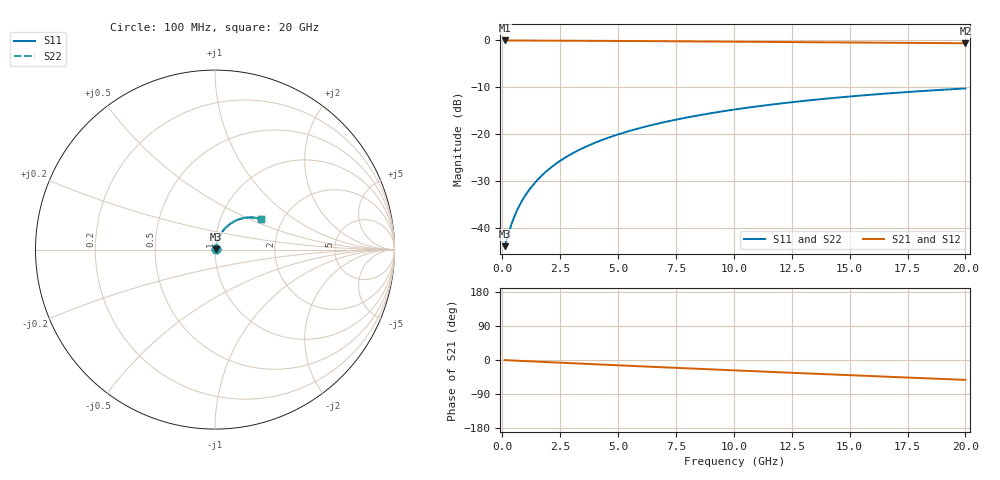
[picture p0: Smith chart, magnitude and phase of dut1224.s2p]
! Touchstone file exported from HFSS 2026.1.0
!  File:  C:/ffzhzh/LocalFiles/Ansys_Project_Files/temp_train_BSMRDL_1224_1783176869_51560.aedt
!  Generated:  10:55:42 PM Jul  4, 2026
!  Design:  BSMRDL
!  Project:  temp_train_BSMRDL_1224_1783176869_51560
! Variables:
!  h_bsmrdl = 5.42um
!  h_ox = 20um
!  h_rdl = 5um
!  h_sub = 80um
!  h_tmrdl = 5um
!  h_tsv = 80um
!  h_via = 3um
!  l_bsmrdl = 918.18um
!  l_sub = 1318.18um
!  l_tmrdl = 200um
!  m_sub = 200um
!  pitch = 20.46um
!  r_tsv = 6um
!  s_tmrdl = 10um
!  w_bsmrdl = 10um
!  w_sub = 500um
!  w_tmrdl = 12um
!  x_tsv_center1 = 206um
!  x_tsv_center2 = 1134.18um
!  x_tsv_center3 = 1346.18um
!  x_tsv_center4 = 2274.36um
!  x_tsv_center5 = 2486.36um
!  x_tsv_center6 = 3414.54um
# GHz S MA R 50.000000
! Terminal data exported
! Port[1] = BSM_RDL1_1_T1
! Port[2] = BSM_RDL1_1_T2
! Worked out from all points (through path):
!   200 points, 100 MHz to 20 GHz, reference 50 ohm
!   highest |S21| = -0.05 dB at 100 MHz (marker M1); lowest = -0.6 dB at 20 GHz (marker M2)
!   group delay of S21, straight-line fit = 7.26 ps
!   lowest |S11| = -43.8 dB at 100 MHz (marker M3), VSWR 1.01, Z = 50.6 + j0.239 ohm
!   |S11| at or under -10 dB: start of sweep to end of sweep
!   |S22| runs from -43.8 to -10.3 dB; largest |S21 - S12| = 3.4e-15
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0.1  0.006448 21.4  0.994 -0.3  0.994 -0.3  0.006448 21.4
! Gamma 0 0 0 0
! Port Impedance 50 0 50 0
0.3  0.009388 46.1  0.9936 -0.9  0.9936 -0.9  0.009388 46.1
0.4  0.01114 52.5  0.9934 -1.2  0.9934 -1.2  0.01114 52.5
0.6  0.01479 60.4  0.993 -1.7  0.993 -1.7  0.01479 60.4
0.7  0.01667 63.0  0.9929 -2.0  0.9929 -2.0  0.01667 63.0
0.9  0.02049 66.7  0.9926 -2.6  0.9926 -2.6  0.02049 66.7
1.1  0.02439 69.1  0.9923 -3.2  0.9923 -3.2  0.02439 69.1
1.3  0.02834 70.7  0.992 -3.7  0.992 -3.7  0.02834 70.7
1.7  0.03629 72.4  0.9914 -4.9  0.9914 -4.9  0.03629 72.4
2.2  0.04624 73.1  0.9904 -6.3  0.9904 -6.3  0.04624 73.1
2.8  0.05806 72.8  0.989 -8.0  0.989 -8.0  0.05806 72.8
3.5  0.0716 71.8  0.9871 -9.9  0.9871 -9.9  0.0716 71.8
4.2  0.08483 70.4  0.985 -11.8  0.985 -11.8  0.08483 70.5
5  0.09955 68.7  0.9825 -14.0  0.9825 -14.0  0.09955 68.7
5.9  0.1156 66.6  0.9794 -16.5  0.9794 -16.5  0.1156 66.6
6.8  0.1312 64.5  0.9763 -18.9  0.9763 -18.9  0.1312 64.5
8.3  0.156 60.9  0.9709 -22.9  0.9709 -22.9  0.156 61.0
10.1  0.1842 56.7  0.9643 -27.6  0.9643 -27.6  0.1842 56.7
11.7  0.2078 52.9  0.9583 -31.7  0.9583 -31.7  0.2078 52.9
13.4  0.2314 48.8  0.9519 -36.1  0.9519 -36.1  0.2314 48.9
16.7  0.2723 41.1  0.9396 -44.3  0.9396 -44.3  0.2723 41.1
20  0.3068 33.4  0.9281 -52.4  0.9281 -52.4  0.3068 33.4
